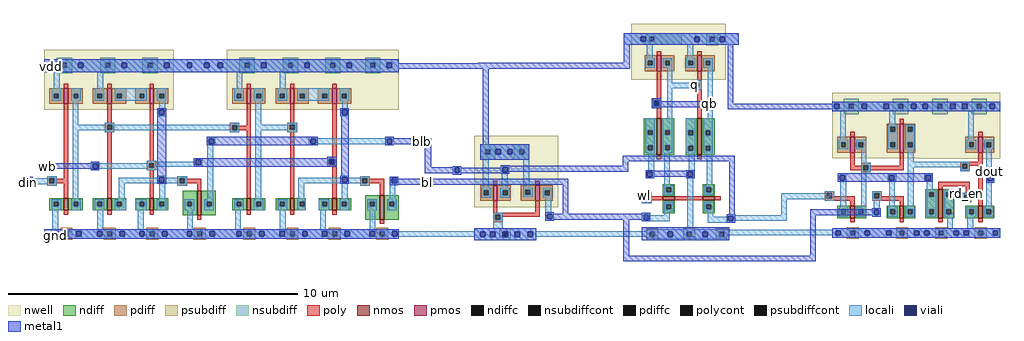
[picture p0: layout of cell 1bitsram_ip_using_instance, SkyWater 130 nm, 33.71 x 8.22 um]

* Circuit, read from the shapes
.subckt 1bitsram_ip_using_instance rd_en dout blb bl gnd vdd wb din wl qb q
XM1 write_driver_0/net1 din gnd gnd sky130_fd_pr__nfet_01v8 w=0.42 l=0.15
XM2 write_driver_0/net2 write_driver_0/net1 gnd gnd sky130_fd_pr__nfet_01v8 w=0.42 l=0.15
XM3 write_driver_0/net2 wb gnd gnd sky130_fd_pr__nfet_01v8 w=0.42 l=0.15
XM4 blb write_driver_0/net2 gnd gnd sky130_fd_pr__nfet_01v8 w=0.84 l=0.15
XM5 write_driver_0/net3 write_driver_0/net1 gnd gnd sky130_fd_pr__nfet_01v8 w=0.42 l=0.15
XM6 write_driver_0/net4 write_driver_0/net3 gnd gnd sky130_fd_pr__nfet_01v8 w=0.42 l=0.15
XM7 write_driver_0/net4 wb gnd gnd sky130_fd_pr__nfet_01v8 w=0.42 l=0.15
XM8 bl write_driver_0/net4 gnd gnd sky130_fd_pr__nfet_01v8 w=0.84 l=0.15
XM9 q qb gnd gnd sky130_fd_pr__nfet_01v8 w=1.26 l=0.15
XM10 q wl bl gnd sky130_fd_pr__nfet_01v8 w=0.42 l=0.15
XM11 qb q gnd gnd sky130_fd_pr__nfet_01v8 w=1.26 l=0.15
XM12 qb wl blb gnd sky130_fd_pr__nfet_01v8 w=0.42 l=0.15
XM13 sense_amp_0/net1 blb sense_amp_0/net2 gnd sky130_fd_pr__nfet_01v8 w=0.42 l=0.15
XM14 sense_amp_0/net3 bl sense_amp_0/net2 gnd sky130_fd_pr__nfet_01v8 w=0.42 l=0.15
XM15 gnd rd_en sense_amp_0/net2 gnd sky130_fd_pr__nfet_01v8 w=1 l=0.15
XM16 dout sense_amp_0/net3 gnd gnd sky130_fd_pr__nfet_01v8 w=0.42 l=0.15
XM17 write_driver_0/net1 din vdd vdd sky130_fd_pr__pfet_01v8 w=0.55 l=0.15
XM18 write_driver_0/net5 write_driver_0/net1 vdd vdd sky130_fd_pr__pfet_01v8 w=0.55 l=0.15
XM19 write_driver_0/net2 wb write_driver_0/net5 vdd sky130_fd_pr__pfet_01v8 w=0.55 l=0.15
XM20 write_driver_0/net3 write_driver_0/net1 vdd vdd sky130_fd_pr__pfet_01v8 w=0.55 l=0.15
XM21 write_driver_0/net6 write_driver_0/net3 vdd vdd sky130_fd_pr__pfet_01v8 w=0.55 l=0.15
XM22 write_driver_0/net4 wb write_driver_0/net6 vdd sky130_fd_pr__pfet_01v8 w=0.55 l=0.15
XM23 blb gnd vdd vdd sky130_fd_pr__pfet_01v8 w=0.55 l=0.15
XM24 bl gnd vdd vdd sky130_fd_pr__pfet_01v8 w=0.55 l=0.15
XM25 q qb vdd vdd sky130_fd_pr__pfet_01v8 w=0.55 l=0.15
XM26 qb q vdd vdd sky130_fd_pr__pfet_01v8 w=0.55 l=0.15
XM27 sense_amp_0/net1 sense_amp_0/net1 vdd vdd sky130_fd_pr__pfet_01v8 w=0.55 l=0.15
XM28 sense_amp_0/net3 sense_amp_0/net1 vdd vdd sky130_fd_pr__pfet_01v8 w=1 l=0.15
XM29 dout sense_amp_0/net3 vdd vdd sky130_fd_pr__pfet_01v8 w=0.55 l=0.15
.ends

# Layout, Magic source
magic
tech sky130A
<< locali >>
rect 2615 140 2793 160
rect 2615 85 2635 140
rect 2935 109 2955 140
rect 2454 65 2635 85
rect 2930 103 2959 109
rect 2930 86 2936 103
rect 2953 86 2959 103
rect 2930 80 2959 86
rect 1293 10 1574 30
rect 1762 10 2157 30
rect 2425 15 2828 35
<< viali >>
rect 2936 86 2953 103
<< metal1 >>
rect 2072 611 2092 676
rect 1567 610 2092 611
rect 1288 590 2092 610
rect 1272 330 1406 351
rect 1385 250 1406 330
rect 1585 320 1605 590
rect 2430 470 2450 679
rect 2430 450 2802 470
rect 2068 271 2455 290
rect 2068 255 2087 271
rect 1385 230 1491 250
rect 1674 235 2087 255
rect 1276 190 1880 210
rect 1860 90 1880 190
rect 1822 70 2156 90
rect 2435 85 2455 271
rect 2930 105 2959 109
rect 2715 103 2959 105
rect 2715 86 2936 103
rect 2953 86 2959 103
rect 2715 85 2959 86
rect 2070 -55 2090 70
rect 2715 -55 2735 85
rect 2930 80 2959 85
rect 2070 -75 2735 -55
use sense_amp  sense_amp_0
transform 1 0 2794 0 1 55
box -29 -52 577 452
use sram_6t_cell  sram_6t_cell_0
transform 1 0 1586 0 1 218
box 485 -219 882 529
use precharge_circuit  precharge_circuit_0
transform 1 0 1550 0 1 74
box -69 -75 296 285
use write_driver  write_driver_0
transform 1 0 -47 0 1 -115
box 47 115 1341 771
<< labels >>
flabel locali s 3251 155 3261 162 0 FreeSans 400 0 0 0 rd_en
port 0 nsew
flabel locali s 3330 232 3340 239 0 FreeSans 400 0 0 0 dout
port 1 nsew
flabel metal1 s 1373 336 1383 343 0 FreeSans 400 0 0 0 blb
port 2 nsew
flabel metal1 s 1387 195 1397 202 0 FreeSans 400 0 0 0 bl
port 3 nsew
flabel metal1 s 104 13 114 20 0 FreeSans 400 0 0 0 gnd
port 4 nsew
flabel metal1 s 91 594 101 601 0 FreeSans 400 0 0 0 vdd
port 5 nsew
flabel metal1 s 76 248 86 255 0 FreeSans 400 0 0 0 wb
port 6 nsew
flabel metal1 s 9 196 19 203 0 FreeSans 400 0 0 0 din
port 7 nsew
flabel locali s 2139 151 2149 158 0 FreeSans 400 0 0 0 wl
port 8 nsew
flabel locali s 2364 465 2373 475 0 FreeSans 400 0 0 0 qb
port 9 nsew
flabel locali s 2313 533 2322 543 0 FreeSans 400 0 0 0 q
port 10 nsew
<< end >>

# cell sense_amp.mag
magic
tech sky130A
<< nwell >>
rect -3 226 577 452
rect 300 225 577 226
<< nmos >>
rect 60 20 75 62
rect 230 20 245 62
rect 364 20 379 120
rect 502 20 517 62
<< pmos >>
rect 60 246 75 301
rect 230 246 245 346
rect 502 246 517 301
<< ndiff >>
rect 319 110 364 120
rect 319 93 332 110
rect 349 93 364 110
rect 15 50 60 62
rect 15 33 28 50
rect 45 33 60 50
rect 15 20 60 33
rect 75 50 115 62
rect 75 33 88 50
rect 105 33 115 50
rect 75 20 115 33
rect 185 50 230 62
rect 185 33 198 50
rect 215 33 230 50
rect 185 20 230 33
rect 245 50 285 62
rect 245 33 258 50
rect 275 33 285 50
rect 245 20 285 33
rect 319 50 364 93
rect 319 33 332 50
rect 349 33 364 50
rect 319 20 364 33
rect 379 110 419 120
rect 379 93 392 110
rect 409 93 419 110
rect 379 50 419 93
rect 379 33 392 50
rect 409 33 419 50
rect 379 20 419 33
rect 457 50 502 62
rect 457 33 470 50
rect 487 33 502 50
rect 457 20 502 33
rect 517 50 557 62
rect 517 33 530 50
rect 547 33 557 50
rect 517 20 557 33
<< pdiff >>
rect 185 335 230 346
rect 185 318 198 335
rect 215 318 230 335
rect 15 282 60 301
rect 15 265 28 282
rect 45 265 60 282
rect 15 246 60 265
rect 75 282 115 301
rect 75 265 88 282
rect 105 265 115 282
rect 75 246 115 265
rect 185 282 230 318
rect 185 265 198 282
rect 215 265 230 282
rect 185 246 230 265
rect 245 335 285 346
rect 245 318 258 335
rect 275 318 285 335
rect 245 282 285 318
rect 245 265 258 282
rect 275 265 285 282
rect 245 246 285 265
rect 457 282 502 301
rect 457 265 470 282
rect 487 265 502 282
rect 457 246 502 265
rect 517 282 557 301
rect 517 265 530 282
rect 547 265 557 282
rect 517 246 557 265
<< ndiffc >>
rect 332 93 349 110
rect 28 33 45 50
rect 88 33 105 50
rect 198 33 215 50
rect 258 33 275 50
rect 332 33 349 50
rect 392 93 409 110
rect 392 33 409 50
rect 470 33 487 50
rect 530 33 547 50
<< pdiffc >>
rect 198 318 215 335
rect 28 265 45 282
rect 88 265 105 282
rect 198 265 215 282
rect 258 318 275 335
rect 258 265 275 282
rect 470 265 487 282
rect 530 265 547 282
<< psubdiff >>
rect 48 -23 89 -11
rect 48 -40 60 -23
rect 77 -40 89 -23
rect 48 -52 89 -40
rect 218 -23 259 -11
rect 218 -40 230 -23
rect 247 -40 259 -23
rect 218 -52 259 -40
rect 354 -23 395 -11
rect 354 -40 366 -23
rect 383 -40 395 -23
rect 354 -52 395 -40
rect 490 -23 531 -11
rect 490 -40 502 -23
rect 519 -40 531 -23
rect 490 -52 531 -40
<< nsubdiff >>
rect 37 414 90 432
rect 37 397 55 414
rect 72 397 90 414
rect 37 379 90 397
rect 207 414 260 432
rect 207 397 225 414
rect 242 397 260 414
rect 207 379 260 397
rect 343 414 396 432
rect 343 397 361 414
rect 378 397 396 414
rect 343 379 396 397
rect 479 414 532 432
rect 479 397 497 414
rect 514 397 532 414
rect 479 379 532 397
<< psubdiffcont >>
rect 60 -40 77 -23
rect 230 -40 247 -23
rect 366 -40 383 -23
rect 502 -40 519 -23
<< nsubdiffcont >>
rect 55 397 72 414
rect 225 397 242 414
rect 361 397 378 414
rect 497 397 514 414
<< poly >>
rect 230 346 245 363
rect 60 301 75 318
rect 502 301 517 318
rect 60 201 75 246
rect 97 203 130 211
rect 97 201 105 203
rect 60 186 105 201
rect 122 201 130 203
rect 230 201 245 246
rect 502 215 517 246
rect 122 186 245 201
rect 439 207 517 215
rect 439 190 447 207
rect 464 200 517 207
rect 464 190 472 200
rect 97 178 130 186
rect 439 182 472 190
rect 364 130 473 145
rect 364 120 379 130
rect -29 105 4 113
rect -29 88 -21 105
rect -4 95 4 105
rect 135 105 168 113
rect -4 88 75 95
rect -29 80 75 88
rect 135 88 143 105
rect 160 95 168 105
rect 160 88 245 95
rect 135 80 245 88
rect 60 62 75 80
rect 230 62 245 80
rect 458 108 473 130
rect 445 100 478 108
rect 445 83 453 100
rect 470 83 478 100
rect 445 75 478 83
rect 502 62 517 200
rect 60 5 75 20
rect 230 5 245 20
rect 364 5 379 20
rect 502 5 517 20
<< polycont >>
rect 105 186 122 203
rect 447 190 464 207
rect -21 88 -4 105
rect 143 88 160 105
rect 453 83 470 100
<< locali >>
rect -2 414 577 422
rect -2 397 5 414
rect 22 397 55 414
rect 72 397 100 414
rect 117 397 175 414
rect 192 397 225 414
rect 242 397 270 414
rect 287 397 311 414
rect 328 397 361 414
rect 378 397 406 414
rect 423 397 447 414
rect 464 397 497 414
rect 514 397 542 414
rect 559 397 577 414
rect -2 389 577 397
rect 25 290 45 389
rect 195 343 215 389
rect 190 335 223 343
rect 190 318 198 335
rect 215 318 223 335
rect 20 282 53 290
rect 20 265 28 282
rect 45 265 53 282
rect 20 257 53 265
rect 80 282 115 290
rect 80 265 88 282
rect 105 265 115 282
rect 80 257 115 265
rect 190 282 223 318
rect 190 265 198 282
rect 215 265 223 282
rect 190 257 223 265
rect 250 335 283 343
rect 250 318 258 335
rect 275 318 283 335
rect 250 282 283 318
rect 467 290 487 389
rect 250 265 258 282
rect 275 265 283 282
rect 250 257 283 265
rect 462 282 495 290
rect 462 265 470 282
rect 487 265 495 282
rect 462 257 495 265
rect 522 282 555 290
rect 522 265 530 282
rect 547 265 555 282
rect 522 257 555 265
rect 97 211 115 257
rect 259 215 279 257
rect 97 203 130 211
rect 97 186 105 203
rect 122 186 130 203
rect 97 178 130 186
rect 259 207 472 215
rect 259 195 447 207
rect 17 168 46 174
rect 17 151 23 168
rect 40 151 46 168
rect 17 145 46 151
rect -29 105 4 113
rect -29 88 -21 105
rect -4 88 4 105
rect -29 80 4 88
rect 26 58 46 145
rect 97 58 115 178
rect 189 168 218 174
rect 189 151 195 168
rect 212 151 218 168
rect 189 145 218 151
rect 135 105 168 113
rect 135 88 143 105
rect 160 88 168 105
rect 135 80 168 88
rect 194 58 214 145
rect 259 58 279 195
rect 439 190 447 195
rect 464 190 472 207
rect 439 182 472 190
rect 315 168 344 174
rect 315 151 321 168
rect 338 151 344 168
rect 315 145 344 151
rect 324 118 344 145
rect 529 172 549 257
rect 529 166 558 172
rect 529 149 535 166
rect 552 149 558 166
rect 529 142 558 149
rect 324 110 357 118
rect 324 93 332 110
rect 349 93 357 110
rect 26 55 53 58
rect 20 50 53 55
rect 20 33 28 50
rect 45 33 53 50
rect 20 25 53 33
rect 80 50 115 58
rect 80 33 88 50
rect 105 33 115 50
rect 80 25 115 33
rect 190 50 223 58
rect 190 33 198 50
rect 215 33 223 50
rect 190 25 223 33
rect 250 50 283 58
rect 250 33 258 50
rect 275 33 283 50
rect 250 25 283 33
rect 324 50 357 93
rect 324 33 332 50
rect 349 33 357 50
rect 324 25 357 33
rect 384 110 417 118
rect 384 93 392 110
rect 409 93 417 110
rect 384 50 417 93
rect 445 100 478 108
rect 445 83 453 100
rect 470 83 478 100
rect 445 75 478 83
rect 529 58 549 142
rect 384 33 392 50
rect 409 33 417 50
rect 384 25 417 33
rect 462 50 495 58
rect 462 33 470 50
rect 487 33 495 50
rect 462 25 495 33
rect 522 50 555 58
rect 522 33 530 50
rect 547 33 555 50
rect 522 25 555 33
rect 394 -15 414 25
rect 464 -15 484 25
rect -3 -23 577 -15
rect -3 -40 10 -23
rect 27 -40 60 -23
rect 77 -40 110 -23
rect 127 -40 184 -23
rect 201 -40 230 -23
rect 247 -40 281 -23
rect 298 -40 316 -23
rect 333 -40 366 -23
rect 383 -40 417 -23
rect 434 -40 452 -23
rect 469 -40 502 -23
rect 519 -40 553 -23
rect 570 -40 577 -23
rect -3 -48 577 -40
<< viali >>
rect 5 397 22 414
rect 100 397 117 414
rect 175 397 192 414
rect 270 397 287 414
rect 311 397 328 414
rect 406 397 423 414
rect 447 397 464 414
rect 542 397 559 414
rect 23 151 40 168
rect 195 151 212 168
rect 321 151 338 168
rect 535 149 552 166
rect 10 -40 27 -23
rect 110 -40 127 -23
rect 184 -40 201 -23
rect 281 -40 298 -23
rect 316 -40 333 -23
rect 417 -40 434 -23
rect 452 -40 469 -23
rect 553 -40 570 -23
<< metal1 >>
rect -2 414 577 422
rect -2 397 5 414
rect 22 397 100 414
rect 117 397 175 414
rect 192 397 270 414
rect 287 397 311 414
rect 328 397 406 414
rect 423 397 447 414
rect 464 397 542 414
rect 559 397 577 414
rect -2 389 577 397
rect 17 168 344 174
rect 17 151 23 168
rect 40 151 195 168
rect 212 151 321 168
rect 338 151 344 168
rect 17 145 344 151
rect 529 166 558 172
rect 529 149 535 166
rect 552 149 558 166
rect 529 142 558 149
rect -3 -23 577 -15
rect -3 -40 10 -23
rect 27 -40 110 -23
rect 127 -40 184 -23
rect 201 -40 281 -23
rect 298 -40 316 -23
rect 333 -40 417 -23
rect 434 -40 452 -23
rect 469 -40 553 -23
rect 570 -40 577 -23
rect -3 -48 577 -40
<< labels >>
flabel metal1 s 139 400 169 415 0 FreeSans 400 0 0 0 vdd
port 0 nsew
flabel metal1 s 273 -44 309 -25 0 FreeSans 400 0 0 0 gnd
port 1 nsew
flabel locali s -19 90 -11 101 0 FreeSans 240 0 0 0 blb
port 2 nsew
flabel locali s 146 90 154 101 0 FreeSans 240 0 0 0 bl
port 3 nsew
flabel locali s 458 84 466 95 0 FreeSans 240 0 0 0 rd_en
port 4 nsew
flabel locali s 108 187 116 198 0 FreeSans 200 0 0 0 net1
flabel locali s 199 155 207 166 0 FreeSans 200 0 0 0 net2
flabel locali s 327 200 335 211 0 FreeSans 200 0 0 0 net3
flabel locali s 538 154 546 160 0 FreeSans 240 0 0 0 dout
port 6 nsew
<< end >>

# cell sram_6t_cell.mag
magic
tech sky130A
<< nwell >>
rect 511 334 837 529
<< nmos >>
rect 600 76 615 202
rect 740 75 755 201
rect 620 -82 662 -67
rect 758 -82 800 -67
<< pmos >>
rect 600 364 615 419
rect 740 364 755 419
<< ndiff >>
rect 555 161 600 202
rect 555 144 568 161
rect 585 144 600 161
rect 555 108 600 144
rect 555 91 568 108
rect 585 91 600 108
rect 555 76 600 91
rect 615 161 660 202
rect 615 144 628 161
rect 645 144 660 161
rect 615 108 660 144
rect 615 91 628 108
rect 645 91 660 108
rect 615 76 660 91
rect 700 160 740 201
rect 700 143 708 160
rect 725 143 740 160
rect 700 107 740 143
rect 700 90 708 107
rect 725 90 740 107
rect 700 75 740 90
rect 755 160 800 201
rect 755 143 768 160
rect 785 143 800 160
rect 755 107 800 143
rect 755 90 768 107
rect 785 90 800 107
rect 755 75 800 90
rect 620 -37 662 -27
rect 620 -54 633 -37
rect 650 -54 662 -37
rect 620 -67 662 -54
rect 758 -37 800 -27
rect 758 -54 771 -37
rect 788 -54 800 -37
rect 758 -67 800 -54
rect 620 -95 662 -82
rect 620 -112 633 -95
rect 650 -112 662 -95
rect 620 -127 662 -112
rect 758 -95 800 -82
rect 758 -112 771 -95
rect 788 -112 800 -95
rect 758 -127 800 -112
<< pdiff >>
rect 558 401 600 419
rect 558 384 568 401
rect 585 384 600 401
rect 558 364 600 384
rect 615 401 660 419
rect 615 384 628 401
rect 645 384 660 401
rect 615 364 660 384
rect 698 401 740 419
rect 698 384 708 401
rect 725 384 740 401
rect 698 364 740 384
rect 755 401 800 419
rect 755 384 768 401
rect 785 384 800 401
rect 755 364 800 384
<< ndiffc >>
rect 568 144 585 161
rect 568 91 585 108
rect 628 144 645 161
rect 628 91 645 108
rect 708 143 725 160
rect 708 90 725 107
rect 768 143 785 160
rect 768 90 785 107
rect 633 -54 650 -37
rect 771 -54 788 -37
rect 633 -112 650 -95
rect 771 -112 788 -95
<< pdiffc >>
rect 568 384 585 401
rect 628 384 645 401
rect 708 384 725 401
rect 768 384 785 401
<< psubdiff >>
rect 563 -190 604 -178
rect 563 -207 575 -190
rect 592 -207 604 -190
rect 563 -219 604 -207
rect 691 -190 732 -178
rect 691 -207 703 -190
rect 720 -207 732 -190
rect 691 -219 732 -207
rect 804 -190 845 -178
rect 804 -207 816 -190
rect 833 -207 845 -190
rect 804 -219 845 -207
<< nsubdiff >>
rect 562 495 595 496
rect 562 484 685 495
rect 562 467 574 484
rect 591 467 685 484
rect 562 455 685 467
rect 771 483 812 495
rect 771 466 783 483
rect 800 466 812 483
rect 771 454 812 466
<< psubdiffcont >>
rect 575 -207 592 -190
rect 703 -207 720 -190
rect 816 -207 833 -190
<< nsubdiffcont >>
rect 574 467 591 484
rect 783 466 800 483
<< poly >>
rect 600 419 615 434
rect 740 419 755 434
rect 600 270 615 364
rect 740 333 755 364
rect 722 325 755 333
rect 722 308 730 325
rect 747 308 755 325
rect 722 300 755 308
rect 582 262 615 270
rect 582 245 590 262
rect 607 245 615 262
rect 582 237 615 245
rect 600 202 615 237
rect 740 201 755 300
rect 600 60 615 76
rect 740 60 755 75
rect 548 -65 583 -56
rect 548 -82 557 -65
rect 574 -67 583 -65
rect 574 -82 620 -67
rect 662 -82 758 -67
rect 800 -82 820 -67
rect 548 -91 583 -82
<< polycont >>
rect 730 308 747 325
rect 590 245 607 262
rect 557 -82 574 -65
<< locali >>
rect 485 495 595 496
rect 485 484 882 495
rect 485 467 544 484
rect 561 467 574 484
rect 591 483 882 484
rect 591 467 730 483
rect 485 466 730 467
rect 747 466 783 483
rect 800 466 817 483
rect 834 466 882 483
rect 485 455 882 466
rect 565 409 585 455
rect 705 409 725 455
rect 560 401 593 409
rect 560 384 568 401
rect 585 384 593 401
rect 560 376 593 384
rect 620 401 653 409
rect 620 384 628 401
rect 645 384 653 401
rect 620 376 653 384
rect 700 401 733 409
rect 700 384 708 401
rect 725 384 733 401
rect 700 376 733 384
rect 760 401 793 409
rect 760 384 768 401
rect 785 384 793 401
rect 760 376 793 384
rect 635 325 653 376
rect 722 325 755 333
rect 635 308 730 325
rect 747 308 755 325
rect 635 305 755 308
rect 582 262 615 270
rect 582 245 590 262
rect 607 245 615 262
rect 582 237 615 245
rect 635 202 653 305
rect 722 300 755 305
rect 775 266 793 376
rect 769 260 798 266
rect 769 243 775 260
rect 792 243 798 260
rect 769 237 798 243
rect 560 161 593 202
rect 560 144 568 161
rect 585 144 593 161
rect 560 108 593 144
rect 560 91 568 108
rect 585 91 593 108
rect 560 83 593 91
rect 620 161 653 202
rect 775 201 793 237
rect 620 144 628 161
rect 645 144 653 161
rect 620 108 653 144
rect 620 91 628 108
rect 645 91 653 108
rect 620 83 653 91
rect 700 160 733 201
rect 700 143 708 160
rect 725 143 733 160
rect 700 107 733 143
rect 700 90 708 107
rect 725 90 733 107
rect 570 23 590 83
rect 561 17 590 23
rect 561 0 567 17
rect 584 0 590 17
rect 561 -6 590 0
rect 625 -29 645 83
rect 700 82 733 90
rect 760 160 793 201
rect 760 143 768 160
rect 785 143 793 160
rect 760 107 793 143
rect 760 90 768 107
rect 785 90 793 107
rect 760 82 793 90
rect 710 23 730 82
rect 701 17 730 23
rect 701 0 707 17
rect 724 0 730 17
rect 701 -6 730 0
rect 625 -37 658 -29
rect 625 -54 633 -37
rect 650 -54 658 -37
rect 548 -65 583 -56
rect 625 -62 658 -54
rect 548 -82 557 -65
rect 574 -82 583 -65
rect 548 -91 583 -82
rect 625 -95 658 -87
rect 625 -112 633 -95
rect 650 -112 658 -95
rect 625 -120 658 -112
rect 548 -131 577 -125
rect 548 -148 554 -131
rect 571 -134 577 -131
rect 625 -134 645 -120
rect 571 -148 645 -134
rect 548 -154 645 -148
rect 705 -182 725 -6
rect 772 -29 792 82
rect 763 -37 796 -29
rect 763 -54 771 -37
rect 788 -54 796 -37
rect 763 -62 796 -54
rect 763 -95 796 -87
rect 763 -112 771 -95
rect 788 -112 796 -95
rect 763 -120 796 -112
rect 775 -139 795 -120
rect 841 -136 870 -130
rect 841 -139 847 -136
rect 775 -153 847 -139
rect 864 -153 870 -136
rect 775 -159 870 -153
rect 567 -190 841 -182
rect 567 -207 575 -190
rect 592 -207 638 -190
rect 655 -207 703 -190
rect 720 -207 759 -190
rect 776 -207 816 -190
rect 833 -207 841 -190
rect 567 -215 841 -207
<< viali >>
rect 544 467 561 484
rect 730 466 747 483
rect 817 466 834 483
rect 590 245 607 262
rect 775 243 792 260
rect 567 0 584 17
rect 707 0 724 17
rect 554 -148 571 -131
rect 847 -153 864 -136
rect 638 -207 655 -190
rect 759 -207 776 -190
<< metal1 >>
rect 485 495 595 496
rect 485 484 882 495
rect 485 467 544 484
rect 561 483 882 484
rect 561 467 730 483
rect 485 466 730 467
rect 747 466 817 483
rect 834 466 882 483
rect 485 455 882 466
rect 582 262 615 270
rect 582 245 590 262
rect 607 260 615 262
rect 769 260 798 266
rect 607 245 775 260
rect 582 243 775 245
rect 792 243 798 260
rect 582 240 798 243
rect 582 237 615 240
rect 769 237 798 240
rect 561 20 590 23
rect 701 20 730 23
rect 561 17 730 20
rect 561 0 567 17
rect 584 0 707 17
rect 724 0 730 17
rect 561 -6 590 0
rect 701 -6 730 0
rect 548 -131 577 -125
rect 548 -148 554 -131
rect 571 -148 577 -131
rect 548 -154 577 -148
rect 841 -136 870 -130
rect 841 -153 847 -136
rect 864 -153 870 -136
rect 841 -159 870 -153
rect 548 -190 850 -175
rect 548 -207 638 -190
rect 655 -207 759 -190
rect 776 -207 850 -190
rect 548 -219 850 -207
<< labels >>
flabel metal1 s 494 463 537 488 0 FreeSans 240 0 0 0 vdd
port 1 nsew
flabel locali s 733 310 742 321 0 FreeSans 200 0 0 0 q
port 6 nsew
flabel locali s 591 247 602 257 0 FreeSans 200 0 0 0 qb
port 7 nsew
flabel metal1 s 661 -209 704 -184 0 FreeSans 240 0 0 0 gnd
port 2 nsew
flabel locali s 558 -81 566 -69 0 FreeSans 240 0 0 0 wl
port 3 nsew
flabel locali s 557 -146 565 -134 0 FreeSans 240 0 0 0 bl
port 4 nsew
flabel locali s 849 -149 857 -137 0 FreeSans 240 0 0 0 blb
port 5 nsew
<< end >>

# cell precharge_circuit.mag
magic
tech sky130A
<< nwell >>
rect 5 39 296 285
<< pmos >>
rect 70 60 85 115
rect 216 60 231 115
<< pdiff >>
rect 25 97 70 115
rect 25 80 38 97
rect 55 80 70 97
rect 25 60 70 80
rect 85 97 132 115
rect 85 80 103 97
rect 120 80 132 97
rect 85 60 132 80
rect 165 98 216 115
rect 165 81 182 98
rect 199 81 216 98
rect 165 60 216 81
rect 231 97 276 115
rect 231 80 249 97
rect 266 80 276 97
rect 231 60 276 80
<< pdiffc >>
rect 38 80 55 97
rect 103 80 120 97
rect 182 81 199 98
rect 249 80 266 97
<< psubdiff >>
rect 91 -46 132 -34
rect 91 -63 103 -46
rect 120 -63 132 -46
rect 91 -75 132 -63
<< nsubdiff >>
rect 25 238 78 256
rect 25 221 43 238
rect 60 221 78 238
rect 25 203 78 221
rect 142 238 195 256
rect 142 221 160 238
rect 177 221 195 238
rect 142 203 195 221
<< psubdiffcont >>
rect 103 -63 120 -46
<< nsubdiffcont >>
rect 43 221 60 238
rect 160 221 177 238
<< poly >>
rect 70 115 85 130
rect 216 115 231 130
rect 70 20 85 60
rect 216 20 231 60
rect 70 12 231 20
rect 70 -5 78 12
rect 95 5 231 12
rect 95 -5 103 5
rect 70 -13 103 -5
<< polycont >>
rect 78 -5 95 12
<< locali >>
rect 25 238 195 256
rect 25 221 43 238
rect 60 221 80 238
rect 97 221 120 238
rect 137 221 160 238
rect 177 221 195 238
rect 25 203 195 221
rect -69 174 -40 180
rect -69 157 -63 174
rect -46 157 -40 174
rect -69 151 -40 157
rect 35 105 55 203
rect 97 177 126 183
rect 97 160 103 177
rect 120 160 126 177
rect 97 154 126 160
rect 100 105 120 154
rect 175 106 195 203
rect 30 97 63 105
rect 30 80 38 97
rect 55 80 63 97
rect 30 72 63 80
rect 95 97 128 105
rect 95 80 103 97
rect 120 80 128 97
rect 95 72 128 80
rect 174 98 207 106
rect 174 81 182 98
rect 199 81 207 98
rect 174 73 207 81
rect 241 97 274 105
rect 241 80 249 97
rect 266 80 274 97
rect 241 72 274 80
rect 251 21 271 72
rect 70 12 103 20
rect 70 -5 78 12
rect 95 -5 103 12
rect 70 -34 103 -5
rect 251 15 280 21
rect 251 -2 257 15
rect 274 -2 280 15
rect 251 -8 280 -2
rect 5 -46 220 -34
rect 5 -63 26 -46
rect 43 -63 61 -46
rect 78 -63 103 -46
rect 120 -63 145 -46
rect 162 -63 190 -46
rect 207 -63 220 -46
rect 5 -75 220 -63
<< viali >>
rect 80 221 97 238
rect 120 221 137 238
rect -63 157 -46 174
rect 103 160 120 177
rect 257 -2 274 15
rect 26 -63 43 -46
rect 61 -63 78 -46
rect 103 -63 120 -46
rect 145 -63 162 -46
rect 190 -63 207 -46
<< metal1 >>
rect 25 238 195 256
rect 25 221 80 238
rect 97 221 120 238
rect 137 221 195 238
rect 25 203 195 221
rect -69 175 -40 180
rect 97 177 126 183
rect 97 175 103 177
rect -69 174 103 175
rect -69 157 -63 174
rect -46 160 103 174
rect 120 160 126 177
rect -46 157 126 160
rect -69 155 126 157
rect -69 151 -40 155
rect 97 154 126 155
rect 251 15 280 21
rect 251 -2 257 15
rect 274 -2 280 15
rect 251 -8 280 -2
rect 5 -46 220 -34
rect 5 -63 26 -46
rect 43 -63 61 -46
rect 78 -63 103 -46
rect 120 -63 145 -46
rect 162 -63 190 -46
rect 207 -63 220 -46
rect 5 -75 220 -63
<< labels >>
flabel locali s 261 3 269 11 0 FreeSans 200 0 0 0 bl
port 2 nsew
flabel metal1 s 81 -71 98 -48 0 FreeSans 200 0 0 0 gnd
port 3 nsew
flabel metal1 s 62 241 107 254 0 FreeSans 200 0 0 0 vdd
port 4 nsew
flabel metal1 s -58 162 -49 169 0 FreeSans 200 0 0 0 blb
port 5 nsew
<< end >>

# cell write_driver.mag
magic
tech sky130A
<< nwell >>
rect 117 564 564 771
rect 748 564 1341 771
<< nmos >>
rect 185 217 200 259
rect 335 217 350 259
rect 481 217 496 259
rect 645 200 660 284
rect 816 217 831 259
rect 966 217 981 259
rect 1112 217 1127 259
rect 1276 185 1291 269
<< pmos >>
rect 185 584 200 639
rect 335 584 350 639
rect 481 584 496 639
rect 816 584 831 639
rect 966 584 981 639
rect 1112 584 1127 639
<< ndiff >>
rect 135 247 185 259
rect 135 230 150 247
rect 167 230 185 247
rect 135 217 185 230
rect 200 247 250 259
rect 200 230 218 247
rect 235 230 250 247
rect 200 217 250 230
rect 285 247 335 259
rect 285 230 300 247
rect 317 230 335 247
rect 285 217 335 230
rect 350 247 400 259
rect 350 230 368 247
rect 385 230 400 247
rect 350 217 400 230
rect 431 247 481 259
rect 431 230 446 247
rect 463 230 481 247
rect 431 217 481 230
rect 496 247 546 259
rect 496 230 514 247
rect 531 230 546 247
rect 496 217 546 230
rect 595 247 645 284
rect 595 230 610 247
rect 627 230 645 247
rect 595 200 645 230
rect 660 247 710 284
rect 660 230 678 247
rect 695 230 710 247
rect 660 200 710 230
rect 766 247 816 259
rect 766 230 781 247
rect 798 230 816 247
rect 766 217 816 230
rect 831 247 881 259
rect 831 230 849 247
rect 866 230 881 247
rect 831 217 881 230
rect 916 247 966 259
rect 916 230 931 247
rect 948 230 966 247
rect 916 217 966 230
rect 981 247 1020 259
rect 981 230 999 247
rect 1016 230 1020 247
rect 981 217 1020 230
rect 1065 247 1112 259
rect 1065 230 1077 247
rect 1094 230 1112 247
rect 1065 217 1112 230
rect 1127 247 1177 259
rect 1127 230 1145 247
rect 1162 230 1177 247
rect 1127 217 1177 230
rect 1226 247 1276 269
rect 1226 230 1241 247
rect 1258 230 1276 247
rect 1226 185 1276 230
rect 1291 247 1341 269
rect 1291 230 1309 247
rect 1326 230 1341 247
rect 1291 185 1341 230
<< pdiff >>
rect 135 620 185 639
rect 135 603 150 620
rect 167 603 185 620
rect 135 584 185 603
rect 200 620 250 639
rect 200 603 218 620
rect 235 603 250 620
rect 200 584 250 603
rect 285 620 335 639
rect 285 603 300 620
rect 317 603 335 620
rect 285 584 335 603
rect 350 620 400 639
rect 350 603 368 620
rect 385 603 400 620
rect 350 584 400 603
rect 431 620 481 639
rect 431 603 446 620
rect 463 603 481 620
rect 431 584 481 603
rect 496 620 546 639
rect 496 603 514 620
rect 531 603 546 620
rect 496 584 546 603
rect 766 620 816 639
rect 766 603 781 620
rect 798 603 816 620
rect 766 584 816 603
rect 831 620 881 639
rect 831 603 849 620
rect 866 603 881 620
rect 831 584 881 603
rect 916 620 966 639
rect 916 603 931 620
rect 948 603 966 620
rect 916 584 966 603
rect 981 620 1031 639
rect 981 603 999 620
rect 1016 603 1031 620
rect 981 584 1031 603
rect 1062 620 1112 639
rect 1062 603 1077 620
rect 1094 603 1112 620
rect 1062 584 1112 603
rect 1127 620 1177 639
rect 1127 603 1145 620
rect 1162 603 1177 620
rect 1127 584 1177 603
<< ndiffc >>
rect 150 230 167 247
rect 218 230 235 247
rect 300 230 317 247
rect 368 230 385 247
rect 446 230 463 247
rect 514 230 531 247
rect 610 230 627 247
rect 678 230 695 247
rect 781 230 798 247
rect 849 230 866 247
rect 931 230 948 247
rect 999 230 1016 247
rect 1077 230 1094 247
rect 1145 230 1162 247
rect 1241 230 1258 247
rect 1309 230 1326 247
<< pdiffc >>
rect 150 603 167 620
rect 218 603 235 620
rect 300 603 317 620
rect 368 603 385 620
rect 446 603 463 620
rect 514 603 531 620
rect 781 603 798 620
rect 849 603 866 620
rect 931 603 948 620
rect 999 603 1016 620
rect 1077 603 1094 620
rect 1145 603 1162 620
<< psubdiff >>
rect 173 144 214 156
rect 173 127 185 144
rect 202 127 214 144
rect 173 115 214 127
rect 323 144 364 156
rect 323 127 335 144
rect 352 127 364 144
rect 323 115 364 127
rect 469 144 510 156
rect 469 127 481 144
rect 498 127 510 144
rect 469 115 510 127
rect 633 144 674 156
rect 633 127 645 144
rect 662 127 674 144
rect 633 115 674 127
rect 804 144 845 156
rect 804 127 816 144
rect 833 127 845 144
rect 804 115 845 127
rect 954 144 995 156
rect 954 127 966 144
rect 983 127 995 144
rect 954 115 995 127
rect 1100 144 1141 156
rect 1100 127 1112 144
rect 1129 127 1141 144
rect 1100 115 1141 127
rect 1264 144 1305 156
rect 1264 127 1276 144
rect 1293 127 1305 144
rect 1264 115 1305 127
<< nsubdiff >>
rect 160 726 213 744
rect 160 709 178 726
rect 195 709 213 726
rect 160 691 213 709
rect 310 726 363 744
rect 310 709 328 726
rect 345 709 363 726
rect 310 691 363 709
rect 456 726 509 744
rect 456 709 474 726
rect 491 709 509 726
rect 456 691 509 709
rect 791 726 844 744
rect 791 709 809 726
rect 826 709 844 726
rect 791 691 844 709
rect 941 726 994 744
rect 941 709 959 726
rect 976 709 994 726
rect 941 691 994 709
rect 1087 726 1140 744
rect 1087 709 1105 726
rect 1122 709 1140 726
rect 1087 691 1140 709
rect 1225 726 1278 744
rect 1225 709 1243 726
rect 1260 709 1278 726
rect 1225 691 1278 709
<< psubdiffcont >>
rect 185 127 202 144
rect 335 127 352 144
rect 481 127 498 144
rect 645 127 662 144
rect 816 127 833 144
rect 966 127 983 144
rect 1112 127 1129 144
rect 1276 127 1293 144
<< nsubdiffcont >>
rect 178 709 195 726
rect 328 709 345 726
rect 474 709 491 726
rect 809 709 826 726
rect 959 709 976 726
rect 1105 709 1122 726
rect 1243 709 1260 726
<< poly >>
rect 185 639 200 654
rect 335 639 350 654
rect 481 639 496 654
rect 816 639 831 654
rect 966 639 981 654
rect 1112 639 1127 654
rect 127 327 160 335
rect 127 310 135 327
rect 152 325 160 327
rect 185 325 200 584
rect 335 520 350 584
rect 326 512 359 520
rect 326 495 334 512
rect 351 495 359 512
rect 326 487 359 495
rect 152 310 200 325
rect 127 302 160 310
rect 185 259 200 310
rect 335 259 350 487
rect 481 388 496 584
rect 758 511 791 519
rect 758 494 766 511
rect 783 509 791 511
rect 816 509 831 584
rect 966 520 981 584
rect 783 494 831 509
rect 758 486 791 494
rect 471 380 504 388
rect 471 363 479 380
rect 496 363 504 380
rect 471 355 504 363
rect 481 259 496 355
rect 577 327 610 335
rect 577 310 585 327
rect 602 325 610 327
rect 602 310 660 325
rect 577 302 610 310
rect 645 284 660 310
rect 185 202 200 217
rect 335 202 350 217
rect 481 202 496 217
rect 816 259 831 494
rect 957 512 990 520
rect 957 495 965 512
rect 982 495 990 512
rect 957 487 990 495
rect 966 259 981 487
rect 1112 401 1127 584
rect 1094 393 1127 401
rect 1094 376 1102 393
rect 1119 376 1127 393
rect 1094 368 1127 376
rect 1112 259 1127 368
rect 1208 327 1241 335
rect 1208 310 1216 327
rect 1233 325 1241 327
rect 1233 310 1291 325
rect 1208 302 1241 310
rect 1276 269 1291 310
rect 816 202 831 217
rect 966 202 981 217
rect 1112 202 1127 217
rect 645 185 660 200
rect 1276 170 1291 185
<< polycont >>
rect 135 310 152 327
rect 334 495 351 512
rect 766 494 783 511
rect 479 363 496 380
rect 585 310 602 327
rect 965 495 982 512
rect 1102 376 1119 393
rect 1216 310 1233 327
<< locali >>
rect 117 727 1341 739
rect 117 726 610 727
rect 117 709 178 726
rect 195 709 235 726
rect 252 709 328 726
rect 345 709 385 726
rect 402 709 474 726
rect 491 709 531 726
rect 548 710 610 726
rect 627 710 669 727
rect 686 710 717 727
rect 734 726 1341 727
rect 734 710 809 726
rect 548 709 809 710
rect 826 709 866 726
rect 883 709 959 726
rect 976 709 1016 726
rect 1033 709 1105 726
rect 1122 709 1162 726
rect 1179 709 1243 726
rect 1260 709 1300 726
rect 1317 709 1341 726
rect 117 694 1341 709
rect 150 639 170 694
rect 300 639 320 694
rect 781 639 801 694
rect 931 639 951 694
rect 142 620 175 639
rect 142 603 150 620
rect 167 603 175 620
rect 142 595 175 603
rect 210 620 243 639
rect 210 603 218 620
rect 235 603 243 620
rect 210 595 243 603
rect 292 620 325 639
rect 292 603 300 620
rect 317 603 325 620
rect 292 595 325 603
rect 360 620 471 639
rect 360 603 368 620
rect 385 603 446 620
rect 463 603 471 620
rect 360 595 471 603
rect 506 620 539 639
rect 506 603 514 620
rect 531 603 539 620
rect 506 595 539 603
rect 773 620 806 639
rect 773 603 781 620
rect 798 603 806 620
rect 773 595 806 603
rect 841 620 874 639
rect 841 603 849 620
rect 866 603 874 620
rect 841 595 874 603
rect 923 620 956 639
rect 923 603 931 620
rect 948 603 956 620
rect 923 595 956 603
rect 991 620 1102 639
rect 991 603 999 620
rect 1016 603 1077 620
rect 1094 603 1102 620
rect 991 595 1102 603
rect 1137 620 1170 639
rect 1137 603 1145 620
rect 1162 603 1170 620
rect 1137 595 1170 603
rect 215 513 235 595
rect 515 570 535 595
rect 508 564 538 570
rect 508 547 515 564
rect 532 547 538 564
rect 508 541 538 547
rect 326 513 359 520
rect 758 513 791 519
rect 215 512 791 513
rect 215 495 334 512
rect 351 511 791 512
rect 351 495 766 511
rect 215 494 766 495
rect 783 494 791 511
rect 215 493 791 494
rect 47 327 77 332
rect 127 327 160 335
rect 47 325 135 327
rect 47 308 54 325
rect 71 310 135 325
rect 152 310 160 327
rect 71 308 160 310
rect 47 307 160 308
rect 47 302 77 307
rect 127 302 160 307
rect 215 255 235 493
rect 326 487 359 493
rect 758 486 791 493
rect 846 513 866 595
rect 1146 570 1166 595
rect 1139 564 1169 570
rect 1139 547 1146 564
rect 1163 547 1169 564
rect 1139 541 1169 547
rect 957 513 990 520
rect 846 512 990 513
rect 846 495 965 512
rect 982 495 990 512
rect 846 493 990 495
rect 678 464 708 470
rect 678 447 685 464
rect 702 447 708 464
rect 678 441 708 447
rect 633 391 663 397
rect 471 385 504 388
rect 633 385 640 391
rect 277 380 307 385
rect 471 380 640 385
rect 277 378 479 380
rect 277 361 284 378
rect 301 363 479 378
rect 496 374 640 380
rect 657 374 663 391
rect 496 368 663 374
rect 496 363 504 368
rect 301 361 504 363
rect 277 360 504 361
rect 277 355 307 360
rect 471 355 504 360
rect 508 331 538 337
rect 508 330 515 331
rect 375 314 515 330
rect 532 330 538 331
rect 577 330 610 335
rect 532 327 610 330
rect 532 314 585 327
rect 375 310 585 314
rect 602 310 610 327
rect 375 255 395 310
rect 508 308 538 310
rect 515 255 535 308
rect 577 302 610 310
rect 680 255 700 441
rect 846 255 866 493
rect 957 487 990 493
rect 1031 465 1061 470
rect 1294 465 1324 470
rect 1031 464 1324 465
rect 1031 447 1038 464
rect 1055 447 1301 464
rect 1318 447 1324 464
rect 1031 445 1324 447
rect 1031 441 1061 445
rect 1294 441 1324 445
rect 1094 393 1127 401
rect 1094 376 1102 393
rect 1119 376 1127 393
rect 1094 368 1127 376
rect 1139 331 1169 337
rect 1139 330 1146 331
rect 995 314 1146 330
rect 1163 330 1169 331
rect 1208 330 1241 335
rect 1163 327 1241 330
rect 1163 314 1216 327
rect 995 310 1216 314
rect 1233 310 1241 327
rect 995 255 1015 310
rect 1139 308 1169 310
rect 1145 255 1165 308
rect 1208 302 1241 310
rect 1310 327 1340 333
rect 1310 310 1317 327
rect 1334 310 1340 327
rect 1310 304 1340 310
rect 1310 255 1330 304
rect 142 247 175 255
rect 142 230 150 247
rect 167 230 175 247
rect 142 217 175 230
rect 210 247 243 255
rect 210 230 218 247
rect 235 230 243 247
rect 210 217 243 230
rect 292 247 325 255
rect 292 230 300 247
rect 317 230 325 247
rect 292 217 325 230
rect 360 247 400 255
rect 360 230 368 247
rect 385 230 400 247
rect 360 217 400 230
rect 431 247 471 255
rect 431 230 446 247
rect 463 230 471 247
rect 431 217 471 230
rect 506 247 539 255
rect 506 230 514 247
rect 531 230 539 247
rect 506 217 539 230
rect 602 247 635 255
rect 602 230 610 247
rect 627 230 635 247
rect 602 217 635 230
rect 670 247 703 255
rect 670 230 678 247
rect 695 230 703 247
rect 670 217 703 230
rect 773 247 806 255
rect 773 230 781 247
rect 798 230 806 247
rect 773 217 806 230
rect 841 247 874 255
rect 841 230 849 247
rect 866 230 874 247
rect 841 217 874 230
rect 923 247 956 255
rect 923 230 931 247
rect 948 230 956 247
rect 923 217 956 230
rect 991 247 1020 255
rect 991 230 999 247
rect 1016 230 1020 247
rect 991 217 1020 230
rect 1065 247 1102 255
rect 1065 230 1077 247
rect 1094 230 1102 247
rect 1065 217 1102 230
rect 1137 247 1170 255
rect 1137 230 1145 247
rect 1162 230 1170 247
rect 1137 217 1170 230
rect 1233 247 1266 255
rect 1233 230 1241 247
rect 1258 230 1266 247
rect 1233 217 1266 230
rect 1301 247 1334 255
rect 1301 230 1309 247
rect 1326 230 1334 247
rect 1301 217 1334 230
rect 145 152 165 217
rect 300 152 320 217
rect 440 152 460 217
rect 610 152 630 217
rect 776 152 796 217
rect 931 152 951 217
rect 1070 152 1090 217
rect 1241 152 1261 217
rect 117 144 1341 152
rect 117 127 150 144
rect 167 127 185 144
rect 202 127 228 144
rect 245 127 300 144
rect 317 127 335 144
rect 352 127 378 144
rect 395 127 446 144
rect 463 127 481 144
rect 498 127 524 144
rect 541 127 610 144
rect 627 127 645 144
rect 662 127 688 144
rect 705 127 781 144
rect 798 127 816 144
rect 833 127 859 144
rect 876 127 931 144
rect 948 127 966 144
rect 983 127 1009 144
rect 1026 127 1077 144
rect 1094 127 1112 144
rect 1129 127 1155 144
rect 1172 127 1241 144
rect 1258 127 1276 144
rect 1293 127 1319 144
rect 1336 127 1341 144
rect 117 119 1341 127
<< viali >>
rect 235 709 252 726
rect 385 709 402 726
rect 531 709 548 726
rect 610 710 627 727
rect 669 710 686 727
rect 717 710 734 727
rect 866 709 883 726
rect 1016 709 1033 726
rect 1162 709 1179 726
rect 1300 709 1317 726
rect 515 547 532 564
rect 54 308 71 325
rect 1146 547 1163 564
rect 685 447 702 464
rect 284 361 301 378
rect 640 374 657 391
rect 515 314 532 331
rect 1038 447 1055 464
rect 1301 447 1318 464
rect 1102 376 1119 393
rect 1146 314 1163 331
rect 1317 310 1334 327
rect 150 127 167 144
rect 228 127 245 144
rect 300 127 317 144
rect 378 127 395 144
rect 446 127 463 144
rect 524 127 541 144
rect 610 127 627 144
rect 688 127 705 144
rect 781 127 798 144
rect 859 127 876 144
rect 931 127 948 144
rect 1009 127 1026 144
rect 1077 127 1094 144
rect 1155 127 1172 144
rect 1241 127 1258 144
rect 1319 127 1336 144
<< metal1 >>
rect 117 727 1341 739
rect 117 726 610 727
rect 117 709 235 726
rect 252 709 385 726
rect 402 709 531 726
rect 548 710 610 726
rect 627 710 669 727
rect 686 710 717 727
rect 734 726 1341 727
rect 734 710 866 726
rect 548 709 866 710
rect 883 709 1016 726
rect 1033 709 1162 726
rect 1179 709 1300 726
rect 1317 709 1341 726
rect 117 694 1341 709
rect 508 564 538 570
rect 508 547 515 564
rect 532 547 538 564
rect 277 380 307 385
rect 104 378 307 380
rect 104 361 284 378
rect 301 361 307 378
rect 104 360 307 361
rect 277 355 307 360
rect 47 325 77 332
rect 47 308 54 325
rect 71 308 77 325
rect 508 331 538 547
rect 1139 564 1169 570
rect 1139 547 1146 564
rect 1163 547 1169 564
rect 1139 541 1169 547
rect 678 464 1061 470
rect 678 447 685 464
rect 702 447 1038 464
rect 1055 447 1061 464
rect 678 441 1061 447
rect 1094 397 1127 401
rect 633 393 1127 397
rect 633 391 1102 393
rect 633 374 640 391
rect 657 376 1102 391
rect 1119 376 1127 393
rect 657 374 1127 376
rect 633 368 1127 374
rect 1143 337 1169 541
rect 1294 464 1324 470
rect 1294 447 1301 464
rect 1318 447 1324 464
rect 1294 441 1324 447
rect 508 314 515 331
rect 532 314 538 331
rect 508 308 538 314
rect 1139 331 1169 337
rect 1139 314 1146 331
rect 1163 314 1169 331
rect 1139 308 1169 314
rect 1310 327 1340 333
rect 1310 310 1317 327
rect 1334 310 1340 327
rect 47 302 77 308
rect 1310 304 1340 310
rect 117 144 1341 152
rect 117 127 150 144
rect 167 127 228 144
rect 245 127 300 144
rect 317 127 378 144
rect 395 127 446 144
rect 463 127 524 144
rect 541 127 610 144
rect 627 127 688 144
rect 705 127 781 144
rect 798 127 859 144
rect 876 127 931 144
rect 948 127 1009 144
rect 1026 127 1077 144
rect 1094 127 1155 144
rect 1172 127 1241 144
rect 1258 127 1319 144
rect 1336 127 1341 144
rect 117 119 1341 127
<< labels >>
flabel locali s 1304 451 1314 460 0 FreeSans 600 0 0 0 blb
port 0 nsew
flabel locali s 1321 315 1331 324 0 FreeSans 600 0 0 0 bl
port 1 nsew
flabel metal1 s 552 124 591 143 0 FreeSans 400 0 0 0 gnd
port 2 nsew
flabel metal1 s 569 714 608 733 0 FreeSans 400 0 0 0 vdd
port 3 nsew
flabel locali s 136 311 146 322 0 FreeSans 400 0 0 0 din
port 4 nsew
flabel locali s 482 368 492 379 0 FreeSans 400 0 0 0 wb
port 5 nsew
flabel locali s 223 440 233 451 0 FreeSans 200 0 0 0 net1
flabel locali s 871 499 881 510 0 FreeSans 200 0 0 0 net3
flabel locali s 1149 318 1159 329 0 FreeSans 200 0 0 0 net4
flabel locali s 517 316 527 327 0 FreeSans 200 0 0 0 net2
flabel locali s 406 606 416 617 0 FreeSans 200 0 0 0 net5
flabel locali s 1038 606 1048 617 0 FreeSans 200 0 0 0 net6
<< end >>
